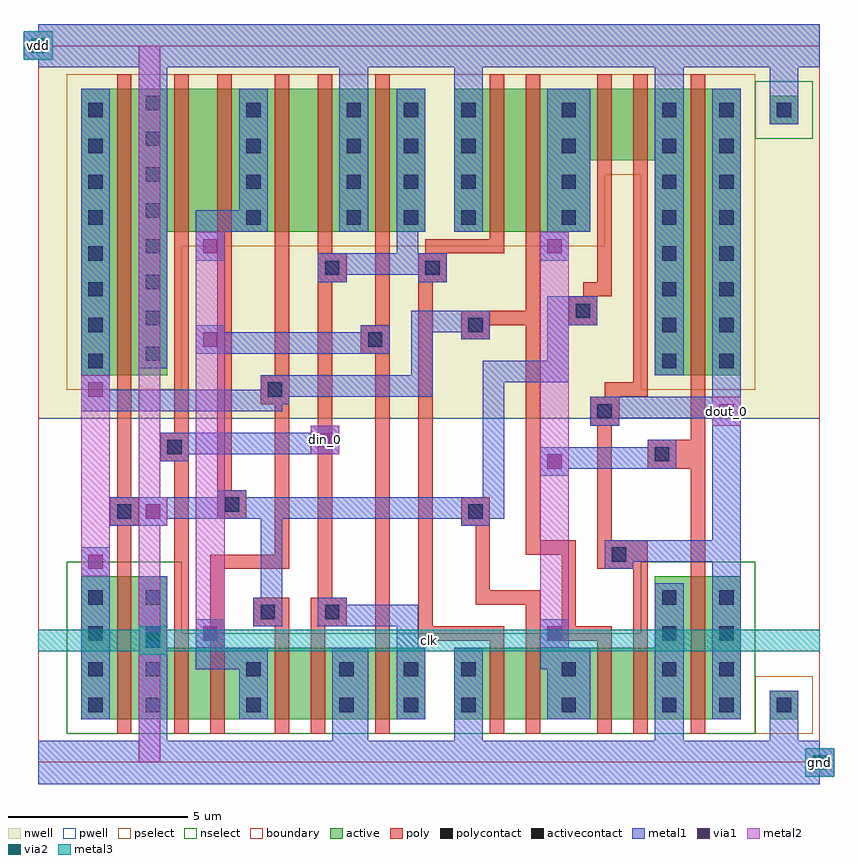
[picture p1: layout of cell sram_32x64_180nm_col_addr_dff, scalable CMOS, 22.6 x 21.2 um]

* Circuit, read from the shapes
.subckt sram_32x64_180nm_col_addr_dff clk din_0 dout_0 gnd vdd
M1 gnd clk n1 gnd nfet w=4u l=0.4u
M2 n2 din_0 gnd gnd nfet w=2u l=0.4u
M3 n3 n1 n2 gnd nfet w=2u l=0.4u
M4 n4 clk n3 gnd nfet w=2u l=0.4u
M5 gnd n5 n4 gnd nfet w=2u l=0.4u
M6 n5 n3 gnd gnd nfet w=2u l=0.4u
M7 n6 n5 gnd gnd nfet w=2u l=0.4u
M8 n7 clk n6 gnd nfet w=2u l=0.4u
M9 n8 n1 n7 gnd nfet w=2u l=0.4u
M10 gnd dout_0 n8 gnd nfet w=2u l=0.4u
M11 dout_0 n7 gnd gnd nfet w=4u l=0.4u
M12 vdd clk n1 vdd pfet w=8u l=0.4u
M13 n9 din_0 vdd vdd pfet w=4u l=0.4u
M14 n3 clk n9 vdd pfet w=4u l=0.4u
M15 n10 n1 n3 vdd pfet w=4u l=0.4u
M16 vdd n5 n10 vdd pfet w=4u l=0.4u
M17 n5 n3 vdd vdd pfet w=4u l=0.4u
M18 n11 n5 vdd vdd pfet w=4u l=0.4u
M19 n7 n1 n11 vdd pfet w=4u l=0.4u
M20 n12 clk n7 vdd pfet w=2u l=0.4u
M21 vdd dout_0 n12 vdd pfet w=2u l=0.4u
M22 dout_0 n7 vdd vdd pfet w=8u l=0.4u
.ends

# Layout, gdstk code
import gdstk
lib = gdstk.Library(unit=1e-6, precision=1e-09)
def R(c, l, rs):  # rectangles x0, y0, x1, y1
    for r in rs: c.add(gdstk.rectangle(r[:2], r[2:], *l))
def A(c, l, x, y, w, h, nx, ny, dx, dy):  # array of equal rectangles
    R(c, l, [(x+i*dx, y+j*dy, x+i*dx+w, y+j*dy+h) for i in range(nx) for j in range(ny)])
pwell = (41, 0)
nwell = (42, 0)
active = (43, 0)
pselect = (44, 0)
nselect = (45, 0)
poly = (46, 0)
polycontact = (47, 0)
activecontact = (48, 0)
metal1 = (49, 0)
via1 = (50, 0)
metal2 = (51, 0)
via2 = (61, 0)
metal3 = (62, 0)
boundary = (63, 0)

dff = lib.new_cell('dff')
R(dff, pwell, [(0,-0.6,21.8,9.6)])
R(dff, nwell, [(0,9.6,21.8,20.6)])
R(dff, active, [(1.2,1.2,10.8,3.2), (11.6,1.2,19.6,3.2), (20.4,1.2,21.2,2), (1.2,3.2,3.6,5.2), (17.2,3.2,19.6,5.2), (1.2,10.8,3.6,14.8), (17.2,10.8,19.6,16.8), (1.2,14.8,10.8,18.8), (11.6,14.8,15.4,16.8), (11.6,16.8,19.6,18.8), (20.4,17.8,21.2,18.6)])
R(dff, pselect, [(20,0.8,21.6,2.4), (0.8,10.4,4,14.4), (16.8,10.4,20,16.4), (0.8,14.4,15.8,16.4), (0.8,16.4,20,19.2)])
R(dff, nselect, [(0.8,0.8,20,3.6), (0.8,3.6,4,5.6), (16.8,3.6,20,5.6), (20,17.4,21.6,19)])
R(dff, poly, [(2.2,0.8,2.6,6.6), (3.8,0.8,4.2,8.4), (4.8,0.8,5.2,5.4), (6.6,0.8,7,3.8), (7.6,0.8,8,3.8), (9.4,0.8,9.8,11.4), (12.6,0.8,13,3.4), (13.6,0.8,14,4.4), (15.6,0.8,16,3.4), (16.6,0.8,17,5.4), (18.2,0.8,18.6,8.2), (10.6,3.4,13,3.8), (14.6,3.4,16,3.8), (6,3.8,7,4.6), (7.6,3.8,8.6,4.6), (10.6,3.8,11,13.4), (14.6,3.8,15,5.8), (12.2,4.4,14,4.8), (7.8,4.6,8.2,13.4), (12.2,4.8,12.6,6.6), (4.8,5.4,7,5.8), (15.6,5.4,17,6.2), (6.6,5.8,7,10), (13.6,5.8,15,6.2), (13.6,6.2,14,12.2), (15.6,6.2,16,9.4), (2,6.6,2.8,7.4), (11.8,6.6,12.6,7.4), (5,6.8,5.8,7.6), (2.2,7.4,2.6,19.2), (5,7.6,5.4,19.2), (17,8.2,18.6,9), (3.4,8.4,4.2,9.2), (18.2,9,18.6,19.2), (3.8,9.2,4.2,19.2), (15.4,9.4,16.2,10.2), (6.2,10,7,10.8), (15.8,10.2,17,10.6), (16.6,10.6,17,19.2), (6.6,10.8,7,19.2), (9,11.4,9.8,12.2), (11.8,11.8,12.6,12.2), (9.4,12.2,9.8,19.2), (11.8,12.2,14,12.6), (14.8,12.2,15.6,13), (13.6,12.6,14,19.2), (15.2,13,16,13.4), (7.8,13.4,8.6,14.2), (10.6,13.4,11.4,14.2), (15.6,13.4,16,19.2), (7.8,14.2,8.2,19.2), (10.8,14.2,13,14.6), (12.6,14.6,13,19.2)])
R(dff, polycontact, [(6.2,4,6.6,4.4), (8,4,8.4,4.4), (16,5.6,16.4,6), (2.2,6.8,2.6,7.2), (12,6.8,12.4,7.2), (5.2,7,5.6,7.4), (17.2,8.4,17.6,8.8), (3.6,8.6,4,9), (15.6,9.6,16,10), (6.4,10.2,6.8,10.6), (9.2,11.6,9.6,12), (12,12,12.4,12.4), (15,12.4,15.4,12.8), (8,13.6,8.4,14), (10.8,13.6,11.2,14)])
A(dff, activecontact, 1.4, 1.4, 0.4, 0.4, 1, 4, 0, 1)
A(dff, activecontact, 3, 1.4, 0.4, 0.4, 1, 4, 0, 1)
A(dff, activecontact, 11.8, 1.4, 0.4, 0.4, 3, 2, 2.8, 1)
A(dff, activecontact, 19, 1.4, 0.4, 0.4, 1, 4, 0, 1)
A(dff, activecontact, 1.4, 11, 0.4, 0.4, 1, 8, 0, 1)
A(dff, activecontact, 17.4, 11, 0.4, 0.4, 1, 7, 0, 1)
A(dff, activecontact, 19, 11, 0.4, 0.4, 1, 7, 0, 1)
A(dff, activecontact, 3, 11.2, 0.4, 0.4, 1, 8, 0, 1)
A(dff, activecontact, 5.8, 15, 0.4, 0.4, 1, 4, 0, 1)
A(dff, activecontact, 8.6, 15, 0.4, 0.4, 3, 4, 1.6, 1)
A(dff, activecontact, 14.6, 15, 0.4, 0.4, 1, 4, 0, 1)
A(dff, activecontact, 17.4, 18, 0.4, 0.4, 3, 1, 1.6, 0)
R(dff, activecontact, [(5.8,1.4,6.2,1.8), (8.4,1.4,8.8,1.8), (10.2,1.4,10.6,1.8), (20.6,1.4,21,1.8), (5.8,2.4,6.2,2.8), (8.4,2.4,8.8,2.8), (10.2,2.4,10.6,2.8), (17.4,3.4,17.8,3.8), (17.4,4.4,17.8,4.8)])
R(dff, metal1, [(0,-0.6,21.8,0.6), (0,-0.6,21.8,0.6), (2.8,0.6,3.6,5.2), (8.2,0.6,9.2,3.2), (11.6,0.6,12.4,3.2), (17.2,0.6,18,5), (20.4,0.6,21.2,2), (1.2,1.2,2,6), (5.6,1.2,6.4,2.6), (10,1.2,10.8,3.2), (14.2,1.2,15.4,2.6), (18.8,1.2,19.6,5.6), (4.4,2.6,6.4,3.2), (14,2.6,15.4,3.2), (4.4,3.2,5.2,4), (10,3.2,10.6,3.8), (14,3.2,14.8,4), (6,3.8,6.8,4.6), (7.8,3.8,10.6,4.4), (7.8,4.4,8.6,4.6), (6.2,4.6,6.8,6.8), (15.8,5.4,16.6,5.6), (15.8,5.6,19.6,6.2), (18.8,6.2,19.6,9.6), (2,6.6,3.6,6.8), (11.8,6.6,12.6,6.8), (2,6.8,13,7.4), (5,7.4,5.8,7.6), (12.4,7.4,13,10.6), (14,8,14.8,8.2), (14,8.2,17.8,8.8), (3.4,8.4,4.2,8.6), (3.4,8.6,8.4,9.2), (17,8.8,17.8,9), (7.6,9.2,8.4,9.4), (15.4,9.4,16.2,9.6), (15.4,9.6,19.6,10.2), (1.2,9.8,6.8,10), (1.2,10,7,10.2), (1.2,10.2,11,10.4), (18.8,10.2,19.6,18.8), (1.2,10.4,2,18.8), (6.2,10.4,11,10.8), (12.4,10.6,14.8,11.2), (10.4,10.8,11,12), (17.2,10.8,18,19.4), (2.8,11,3.6,19.4), (14.2,11.2,14.8,12.2), (4.4,11.4,9.8,12), (11.8,11.8,12.6,12), (4.4,12,5.2,12.2), (9,12,9.8,12.2), (10.4,12,12.6,12.6), (14.2,12.2,15.6,13), (7.8,13.4,8.6,13.6), (10.6,13.4,11.4,13.6), (7.8,13.6,11.4,14.2), (4.4,14,5.2,14.8), (14,14,14.8,14.8), (10,14.2,10.6,14.8), (4.4,14.8,6.4,15.4), (8.4,14.8,9.2,19.4), (10,14.8,10.8,18.8), (11.6,14.8,12.4,19.4), (14.2,14.8,15.4,18.8), (5.6,15.4,6.4,18.8), (20.4,17.8,21.2,19.4), (0,19.4,21.8,20.6), (0,19.4,21.8,20.6)])
R(dff, via1, [(4.6,3.4,5,3.8), (14.2,3.4,14.6,3.8), (1.4,5.4,1.8,5.8), (3,6.8,3.4,7.2), (14.2,8.2,14.6,8.6), (7.8,8.8,8.2,9.2), (19,9.6,19.4,10), (1.4,10.2,1.8,10.6), (4.6,11.6,5,12), (4.6,14.2,5,14.6), (14.2,14.2,14.6,14.6)])
R(dff, metal2, [(4.4,3.2,5.2,14.8), (14,3.2,14.8,14.8), (1.2,5.2,2,10.8), (2.8,6.6,3.6,7.4), (2.8,6.6,3.6,7.4), (7.6,8.6,8.4,9.4), (7.6,8.6,8.4,9.4), (18.8,9.4,19.6,10.2), (18.8,9.4,19.6,10.2)])
R(dff, boundary, [(0,0,21.8,20)])
dff.add(gdstk.Label('clk', (3,6.8), layer=51, texttype=0))
dff.add(gdstk.Label('D', (8,9), layer=51, texttype=0))
dff.add(gdstk.Label('Q', (19.2,9.8), layer=51, texttype=0))
dff.add(gdstk.Label('vdd', (6.4,19.6), layer=49, texttype=0))
dff.add(gdstk.Label('gnd', (8.8,0.2), layer=49, texttype=0))
dff.add(gdstk.Label('D', (8,9), layer=51, texttype=0))
dff.add(gdstk.Label('Q', (19.2,9.8), layer=51, texttype=0))
dff.add(gdstk.Label('clk', (3.2,7), layer=51, texttype=0))
dff.add(gdstk.Label('vdd', (10.9,20), layer=49, texttype=0))
dff.add(gdstk.Label('gnd', (10.9,0), layer=49, texttype=0))

sram_32x64_180nm_contact = lib.new_cell('sram_32x64_180nm_contact_18')
R(sram_32x64_180nm_contact, metal1, [(0,0,0.8,0.8)])
R(sram_32x64_180nm_contact, via1, [(0.2,0.2,0.6,0.6)])
R(sram_32x64_180nm_contact, metal2, [(0,0,0.8,0.8)])
R(sram_32x64_180nm_contact, boundary, [(0,0,0.8,0.8)])

c_sram_32x64_180nm_contact = lib.new_cell('sram_32x64_180nm_contact_19')
R(c_sram_32x64_180nm_contact, metal2, [(0,0,0.8,0.8)])
R(c_sram_32x64_180nm_contact, via2, [(0.2,0.2,0.6,0.6)])
R(c_sram_32x64_180nm_contact, metal3, [(0,0,0.8,0.8)])
R(c_sram_32x64_180nm_contact, boundary, [(0,0,0.8,0.8)])

sram_32x64_180nm_col_add = lib.new_cell('sram_32x64_180nm_col_addr_dff')
R(sram_32x64_180nm_col_add, metal2, [(2.8,0,3.4,20), (7.6,8.6,8.4,9.4), (18.8,9.4,19.6,10.2)])
R(sram_32x64_180nm_col_add, metal3, [(21.4,-0.4,22.2,0.4), (0,3.1,21.8,3.7), (-0.4,19.6,0.4,20.4)])
R(sram_32x64_180nm_col_add, boundary, [(0,0,21.8,20)])
sram_32x64_180nm_col_add.add(gdstk.Reference(dff, (0,0)))
sram_32x64_180nm_col_add.add(gdstk.Reference(sram_32x64_180nm_contact, (-0.4,19.6)))
sram_32x64_180nm_col_add.add(gdstk.Reference(c_sram_32x64_180nm_contact, (-0.4,19.6)))
sram_32x64_180nm_col_add.add(gdstk.Reference(sram_32x64_180nm_contact, (21.4,-0.4)))
sram_32x64_180nm_col_add.add(gdstk.Reference(c_sram_32x64_180nm_contact, (21.4,-0.4)))
sram_32x64_180nm_col_add.add(gdstk.Reference(c_sram_32x64_180nm_contact, (2.8,3)))
sram_32x64_180nm_col_add.add(gdstk.Label('vdd', (0,20), layer=62, texttype=0))
sram_32x64_180nm_col_add.add(gdstk.Label('gnd', (21.8,0), layer=62, texttype=0))
sram_32x64_180nm_col_add.add(gdstk.Label('din_0', (8,9), layer=51, texttype=0))
sram_32x64_180nm_col_add.add(gdstk.Label('dout_0', (19.2,9.8), layer=51, texttype=0))
sram_32x64_180nm_col_add.add(gdstk.Label('clk', (10.9,3.4), layer=62, texttype=0))

lib.write_gds('sram_32x64_180nm_col_addr_dff.gds')
